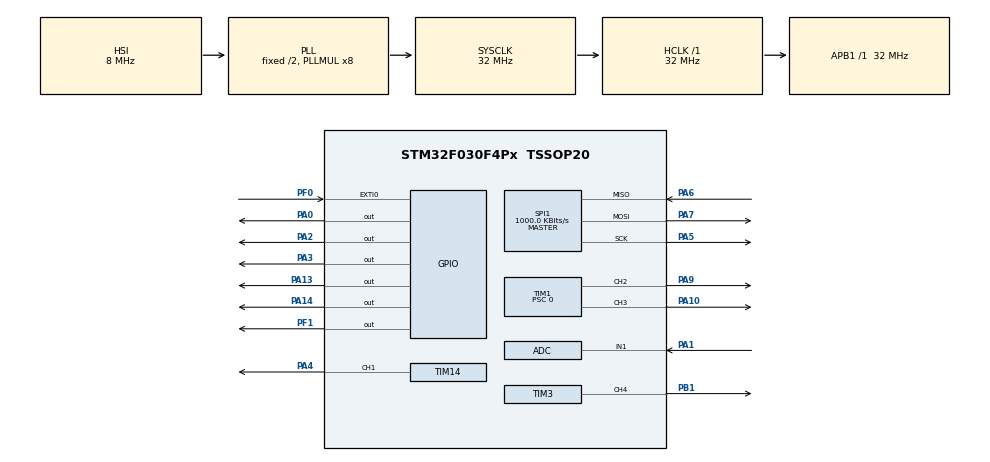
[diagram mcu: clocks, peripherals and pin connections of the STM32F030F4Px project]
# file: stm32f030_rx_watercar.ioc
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ADC.SamplingTime=ADC_SAMPLETIME_55CYCLES_5
Dma.ADC.0.Direction=DMA_PERIPH_TO_MEMORY
Dma.ADC.0.Instance=DMA1_Channel1
Dma.ADC.0.MemDataAlignment=DMA_MDATAALIGN_HALFWORD
Dma.ADC.0.MemInc=DMA_MINC_ENABLE
Dma.ADC.0.Mode=DMA_NORMAL
Dma.ADC.0.PeriphDataAlignment=DMA_PDATAALIGN_HALFWORD
Dma.ADC.0.PeriphInc=DMA_PINC_DISABLE
Dma.ADC.0.Priority=DMA_PRIORITY_MEDIUM
Dma.Request0=ADC
Mcu.Family=STM32F0
Mcu.Name=STM32F030F4Px
Mcu.Package=TSSOP20
NVIC.DMA1_Channel1_IRQn=true\:0\:0\:false\:false\:true\:false
NVIC.EXTI0_1_IRQn=true\:0\:0\:false\:false\:true\:true
NVIC.TIM16_IRQn=true\:0\:0\:false\:false\:true\:true
PA0.Signal=GPIO_Output
PA1.Mode=IN1
PA1.Signal=ADC_IN1
PA10.Signal=S_TIM1_CH3
PA13.Signal=GPIO_Output
PA14.Signal=GPIO_Output
PA2.Signal=GPIO_Output
PA3.Signal=GPIO_Output
PA4.Signal=S_TIM14_CH1
PA5.Mode=Full_Duplex_Master
PA5.Signal=SPI1_SCK
PA6.Mode=Full_Duplex_Master
PA6.Signal=SPI1_MISO
PA7.Mode=Full_Duplex_Master
PA7.Signal=SPI1_MOSI
PA9.Signal=S_TIM1_CH2
PB1.Signal=S_TIM3_CH4
PF0-OSC_IN.GPIO_ModeDefaultEXTI=GPIO_MODE_IT_FALLING
PF0-OSC_IN.Signal=GPXTI0
PF1-OSC_OUT.Signal=GPIO_Output
ProjectManager.HeapSize=0x200
ProjectManager.StackSize=0x400
ProjectManager.TargetToolchain=MDK-ARM V5
RCC.AHBFreq_Value=32000000
RCC.APB1Freq_Value=32000000
RCC.APB1TimFreq_Value=32000000
RCC.HCLKFreq_Value=32000000
RCC.PLLMUL=RCC_PLL_MUL8
RCC.SYSCLKFreq_VALUE=32000000
RCC.SYSCLKSource=RCC_SYSCLKSOURCE_PLLCLK
SH.S_TIM14_CH1.0=TIM14_CH1,PWM Generation1 CH1
SH.S_TIM1_CH2.0=TIM1_CH2,PWM Generation2 CH2
SH.S_TIM1_CH3.0=TIM1_CH3,PWM Generation3 CH3
SH.S_TIM3_CH4.0=TIM3_CH4,PWM Generation4 CH4
SPI1.BaudRatePrescaler=SPI_BAUDRATEPRESCALER_32
SPI1.CLKPhase=SPI_PHASE_1EDGE
SPI1.CLKPolarity=SPI_POLARITY_LOW
SPI1.CalculateBaudRate=1000.0 KBits/s
SPI1.DataSize=SPI_DATASIZE_8BIT
SPI1.Direction=SPI_DIRECTION_2LINES
SPI1.Mode=SPI_MODE_MASTER
SPI1.NSSPMode=SPI_NSS_PULSE_DISABLE
SPI1.VirtualType=VM_MASTER
TIM1.Channel-PWM\ Generation2\ CH2=TIM_CHANNEL_2
TIM1.Channel-PWM\ Generation3\ CH3=TIM_CHANNEL_3
TIM1.Period=1599
TIM1.Prescaler=0
TIM14.Channel=TIM_CHANNEL_1
TIM14.Period=1599
TIM14.Prescaler=0
TIM16.Period=1
TIM16.Prescaler=31999
TIM3.Channel-PWM\ Generation4\ CH4=TIM_CHANNEL_4
TIM3.Period=1599
TIM3.Prescaler=0
VP_TIM14_VS_ClockSourceINT.Mode=Enable_Timer
VP_TIM16_VS_ClockSourceINT.Mode=Enable_Timer
VP_TIM1_VS_ClockSourceINT.Mode=Internal
VP_TIM3_VS_ClockSourceINT.Mode=Internal
board=custom

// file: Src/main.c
/**
  ******************************************************************************
  * @file           : main.c
  * @brief          : Main program body
  ******************************************************************************
  ** This notice applies to any and all portions of this file
  * that are not between comment pairs USER CODE BEGIN and
  * USER CODE END. Other portions of this file, whether
  * inserted by the user or by software development tools
  * are owned by their respective copyright owners.
  *
  * COPYRIGHT(c) 2018 STMicroelectronics
  *
  * Redistribution and use in source and binary forms, with or without modification,
  * are permitted provided that the following conditions are met:
  *   1. Redistributions of source code must retain the above copyright notice,
  *      this list of conditions and the following disclaimer.
  *   2. Redistributions in binary form must reproduce the above copyright notice,
  *      this list of conditions and the following disclaimer in the documentation
  *      and/or other materials provided with the distribution.
  *   3. Neither the name of STMicroelectronics nor the names of its contributors
  *      may be used to endorse or promote products derived from this software
  *      without specific prior written permission.
  *
  * THIS SOFTWARE IS PROVIDED BY THE COPYRIGHT HOLDERS AND CONTRIBUTORS "AS IS"
  * AND ANY EXPRESS OR IMPLIED WARRANTIES, INCLUDING, BUT NOT LIMITED TO, THE
  * IMPLIED WARRANTIES OF MERCHANTABILITY AND FITNESS FOR A PARTICULAR PURPOSE ARE
  * DISCLAIMED. IN NO EVENT SHALL THE COPYRIGHT HOLDER OR CONTRIBUTORS BE LIABLE
  * FOR ANY DIRECT, INDIRECT, INCIDENTAL, SPECIAL, EXEMPLARY, OR CONSEQUENTIAL
  * DAMAGES (INCLUDING, BUT NOT LIMITED TO, PROCUREMENT OF SUBSTITUTE GOODS OR
  * SERVICES; LOSS OF USE, DATA, OR PROFITS; OR BUSINESS INTERRUPTION) HOWEVER
  * CAUSED AND ON ANY THEORY OF LIABILITY, WHETHER IN CONTRACT, STRICT LIABILITY,
  * OR TORT (INCLUDING NEGLIGENCE OR OTHERWISE) ARISING IN ANY WAY OUT OF THE USE
  * OF THIS SOFTWARE, EVEN IF ADVISED OF THE POSSIBILITY OF SUCH DAMAGE.
  *
  ******************************************************************************
  */
#include "main.h"
#include "stm32f0xx_hal.h"

/* USER CODE BEGIN Includes */
#include "nrf24.h"
#include <string.h>

#define LED_T //HAL_GPIO_TogglePin(GPIOA, GPIO_PIN_4)
#define ENG1_D TIM1->CCR3
#define ENG1_R TIM1->CCR2
#define ENG2_D TIM3->CCR4
#define ENG2_R TIM14->CCR1

#define LED1_ON HAL_GPIO_WritePin(GPIOA, GPIO_PIN_2, GPIO_PIN_RESET);
#define LED1_OFF HAL_GPIO_WritePin(GPIOA, GPIO_PIN_2, GPIO_PIN_SET);
#define LED2_ON HAL_GPIO_WritePin(GPIOA, GPIO_PIN_3, GPIO_PIN_RESET);
#define LED2_OFF HAL_GPIO_WritePin(GPIOA, GPIO_PIN_3, GPIO_PIN_SET);
/* USER CODE END Includes */

ADC_HandleTypeDef hadc;
DMA_HandleTypeDef hdma_adc;

SPI_HandleTypeDef hspi1;

TIM_HandleTypeDef htim1;
TIM_HandleTypeDef htim3;
TIM_HandleTypeDef htim14;
TIM_HandleTypeDef htim16;

/* USER CODE BEGIN PV */
/* Private variables ---------------------------------------------------------*/
char str1[150]={0};
uint8_t buf1[20]={0};

uint8_t ReciveFlag=0;
extern uint8_t RX_BUF[5];

volatile uint16_t ADC_Data[2];
uint16_t TimeLastRx = 0;

volatile uint8_t  SRV_1_Left=68, SRV_1_C=82, SRV_1_Right=104;
volatile uint8_t  SRV_2_Left=60, SRV_2_C=82, SRV_2_Right=145;
volatile uint8_t  SRV_3_Left=60, SRV_3_C=82, SRV_3_Right=145;
volatile uint8_t  SRV_4_Left=60, SRV_4_C=82, SRV_4_Right=145;

uint8_t OptionFlag=0;
float Volt = 0.0;
uint8_t MaxPwr = 2;
/* USER CODE END PV */

void SystemClock_Config(void);
static void MX_GPIO_Init(void);
static void MX_DMA_Init(void);
static void MX_SPI1_Init(void);
static void MX_TIM16_Init(void);
static void MX_TIM1_Init(void);
static void MX_TIM3_Init(void);
static void MX_TIM14_Init(void);
static void MX_ADC_Init(void);

void HAL_TIM_MspPostInit(TIM_HandleTypeDef *htim);

/* USER CODE BEGIN PFP */
/* Private function prototypes -----------------------------------------------*/
void MotorDrive(uint8_t left, uint8_t right, uint8_t drive, uint8_t revers);
uint8_t CheckBits (uint8_t value, uint8_t pos);
/* USER CODE END PFP */

int main(void)
{
  /* USER CODE BEGIN 1 */
	uint8_t dt_reg=0;
	uint8_t msg1;

	uint8_t chanels[4] = {0};
  /* USER CODE END 1 */

  /* MCU Configuration----------------------------------------------------------*/

  /* Reset of all peripherals, Initializes the Flash interface and the Systick. */
  HAL_Init();

  /* Configure the system clock */
  SystemClock_Config();

  /* Initialize all configured peripherals */
  MX_GPIO_Init();
  MX_DMA_Init();
  MX_SPI1_Init();
  MX_TIM16_Init();
  MX_TIM1_Init();
  MX_TIM3_Init();
  MX_TIM14_Init();
  MX_ADC_Init();
  /* USER CODE BEGIN 2 */

	HAL_TIM_PWM_Start(&htim1, TIM_CHANNEL_2);
	HAL_TIM_PWM_Start(&htim1, TIM_CHANNEL_3);
	HAL_TIM_PWM_Start(&htim3, TIM_CHANNEL_4);
	HAL_TIM_PWM_Start(&htim14, TIM_CHANNEL_1);

	ENG1_D = 0;
	ENG1_R = 0;
	ENG2_D = 0;
	ENG2_R = 0;

	RX_BUF[0] = 100;
	RX_BUF[1] = 100;
	RX_BUF[2] = 0;
	RX_BUF[3] = 0;
	RX_BUF[4] = 0;

	LED1_OFF;
	LED2_OFF;

	HAL_Delay(500);

	NRF24_ini();
	HAL_Delay(100);
	HAL_TIM_Base_Start_IT(&htim16);

	msg1 = 0xdb;
  /* USER CODE END 2 */

  /* Infinite loop */
  while (1)
  {

  /* USER CODE BEGIN 3 */

		NRF24L01_Receive();
		//HAL_Delay(1);

		if (TimeLastRx > 500) {
			RX_BUF[0] = 100;
			RX_BUF[1] = 100;
			RX_BUF[2] = 0;
			RX_BUF[3] = 0;
			RX_BUF[4] = 0;
			TimeLastRx = 501;
		}

		if (OptionFlag == 0){ // check options menu flag

			if (RX_BUF[0] > 95 && RX_BUF[0] < 105 && RX_BUF[1] > 95 && RX_BUF[1] < 105) {
				MotorDrive(0, 0, 0, 0);
			} else {

				if (RX_BUF[1] < 95)
						chanels[2] = 100 - RX_BUF[1];
					else
						chanels[2] = 0;

				if (RX_BUF[1] >105)
						chanels[3] = RX_BUF[1] - 100;
					else
						chanels[3] = 0;

				if (RX_BUF[0] < 95)
						chanels[1] = 100 - RX_BUF[0];
					else
						chanels[1] = 0;

				if (RX_BUF[0] >105)
						chanels[0] = RX_BUF[0] - 100;
					else
						chanels[0] = 0;

				MotorDrive(chanels[1], chanels[0], chanels[3], chanels[2]);
			}

		}

  }
  /* USER CODE END 3 */

}

void SystemClock_Config(void)
{

  RCC_OscInitTypeDef RCC_OscInitStruct;
  RCC_ClkInitTypeDef RCC_ClkInitStruct;

    /**Initializes the CPU, AHB and APB busses clocks
    */
  RCC_OscInitStruct.OscillatorType = RCC_OSCILLATORTYPE_HSI|RCC_OSCILLATORTYPE_HSI14;
  RCC_OscInitStruct.HSIState = RCC_HSI_ON;
  RCC_OscInitStruct.HSI14State = RCC_HSI14_ON;
  RCC_OscInitStruct.HSICalibrationValue = 16;
  RCC_OscInitStruct.HSI14CalibrationValue = 16;
  RCC_OscInitStruct.PLL.PLLState = RCC_PLL_ON;
  RCC_OscInitStruct.PLL.PLLSource = RCC_PLLSOURCE_HSI;
  RCC_OscInitStruct.PLL.PLLMUL = RCC_PLL_MUL8;
  RCC_OscInitStruct.PLL.PREDIV = RCC_PREDIV_DIV1;
  if (HAL_RCC_OscConfig(&RCC_OscInitStruct) != HAL_OK)
  {
    _Error_Handler(__FILE__, __LINE__);
  }

    /**Initializes the CPU, AHB and APB busses clocks
    */
  RCC_ClkInitStruct.ClockType = RCC_CLOCKTYPE_HCLK|RCC_CLOCKTYPE_SYSCLK
                              |RCC_CLOCKTYPE_PCLK1;
  RCC_ClkInitStruct.SYSCLKSource = RCC_SYSCLKSOURCE_PLLCLK;
  RCC_ClkInitStruct.AHBCLKDivider = RCC_SYSCLK_DIV1;
  RCC_ClkInitStruct.APB1CLKDivider = RCC_HCLK_DIV1;

  if (HAL_RCC_ClockConfig(&RCC_ClkInitStruct, FLASH_LATENCY_1) != HAL_OK)
  {
    _Error_Handler(__FILE__, __LINE__);
  }

    /**Configure the Systick interrupt time
    */
  HAL_SYSTICK_Config(HAL_RCC_GetHCLKFreq()/1000);

    /**Configure the Systick
    */
  HAL_SYSTICK_CLKSourceConfig(SYSTICK_CLKSOURCE_HCLK);

  /* SysTick_IRQn interrupt configuration */
  HAL_NVIC_SetPriority(SysTick_IRQn, 0, 0);
}

/* ADC init function */
static void MX_ADC_Init(void)
{

  ADC_ChannelConfTypeDef sConfig;

    /**Configure the global features of the ADC (Clock, Resolution, Data Alignment and number of conversion)
    */
  hadc.Instance = ADC1;
  hadc.Init.ClockPrescaler = ADC_CLOCK_ASYNC_DIV1;
  hadc.Init.Resolution = ADC_RESOLUTION_12B;
  hadc.Init.DataAlign = ADC_DATAALIGN_RIGHT;
  hadc.Init.ScanConvMode = ADC_SCAN_DIRECTION_FORWARD;
  hadc.Init.EOCSelection = ADC_EOC_SINGLE_CONV;
  hadc.Init.LowPowerAutoWait = DISABLE;
  hadc.Init.LowPowerAutoPowerOff = DISABLE;
  hadc.Init.ContinuousConvMode = DISABLE;
  hadc.Init.DiscontinuousConvMode = DISABLE;
  hadc.Init.ExternalTrigConv = ADC_SOFTWARE_START;
  hadc.Init.ExternalTrigConvEdge = ADC_EXTERNALTRIGCONVEDGE_NONE;
  hadc.Init.DMAContinuousRequests = DISABLE;
  hadc.Init.Overrun = ADC_OVR_DATA_PRESERVED;
  if (HAL_ADC_Init(&hadc) != HAL_OK)
  {
    _Error_Handler(__FILE__, __LINE__);
  }

    /**Configure for the selected ADC regular channel to be converted.
    */
  sConfig.Channel = ADC_CHANNEL_1;
  sConfig.Rank = ADC_RANK_CHANNEL_NUMBER;
  sConfig.SamplingTime = ADC_SAMPLETIME_55CYCLES_5;
  if (HAL_ADC_ConfigChannel(&hadc, &sConfig) != HAL_OK)
  {
    _Error_Handler(__FILE__, __LINE__);
  }

}

/* SPI1 init function */
static void MX_SPI1_Init(void)
{

  /* SPI1 parameter configuration*/
  hspi1.Instance = SPI1;
  hspi1.Init.Mode = SPI_MODE_MASTER;
  hspi1.Init.Direction = SPI_DIRECTION_2LINES;
  hspi1.Init.DataSize = SPI_DATASIZE_8BIT;
  hspi1.Init.CLKPolarity = SPI_POLARITY_LOW;
  hspi1.Init.CLKPhase = SPI_PHASE_1EDGE;
  hspi1.Init.NSS = SPI_NSS_SOFT;
  hspi1.Init.BaudRatePrescaler = SPI_BAUDRATEPRESCALER_32;
  hspi1.Init.FirstBit = SPI_FIRSTBIT_MSB;
  hspi1.Init.TIMode = SPI_TIMODE_DISABLE;
  hspi1.Init.CRCCalculation = SPI_CRCCALCULATION_DISABLE;
  hspi1.Init.CRCPolynomial = 7;
  hspi1.Init.CRCLength = SPI_CRC_LENGTH_DATASIZE;
  hspi1.Init.NSSPMode = SPI_NSS_PULSE_DISABLE;
  if (HAL_SPI_Init(&hspi1) != HAL_OK)
  {
    _Error_Handler(__FILE__, __LINE__);
  }

}

/* TIM1 init function */
static void MX_TIM1_Init(void)
{

  TIM_ClockConfigTypeDef sClockSourceConfig;
  TIM_MasterConfigTypeDef sMasterConfig;
  TIM_OC_InitTypeDef sConfigOC;
  TIM_BreakDeadTimeConfigTypeDef sBreakDeadTimeConfig;

  htim1.Instance = TIM1;
  htim1.Init.Prescaler = 0;
  htim1.Init.CounterMode = TIM_COUNTERMODE_UP;
  htim1.Init.Period = 1599;
  htim1.Init.ClockDivision = TIM_CLOCKDIVISION_DIV1;
  htim1.Init.RepetitionCounter = 0;
  htim1.Init.AutoReloadPreload = TIM_AUTORELOAD_PRELOAD_DISABLE;
  if (HAL_TIM_Base_Init(&htim1) != HAL_OK)
  {
    _Error_Handler(__FILE__, __LINE__);
  }

  sClockSourceConfig.ClockSource = TIM_CLOCKSOURCE_INTERNAL;
  if (HAL_TIM_ConfigClockSource(&htim1, &sClockSourceConfig) != HAL_OK)
  {
    _Error_Handler(__FILE__, __LINE__);
  }

  if (HAL_TIM_PWM_Init(&htim1) != HAL_OK)
  {
    _Error_Handler(__FILE__, __LINE__);
  }

  sMasterConfig.MasterOutputTrigger = TIM_TRGO_RESET;
  sMasterConfig.MasterSlaveMode = TIM_MASTERSLAVEMODE_DISABLE;
  if (HAL_TIMEx_MasterConfigSynchronization(&htim1, &sMasterConfig) != HAL_OK)
  {
    _Error_Handler(__FILE__, __LINE__);
  }

  sConfigOC.OCMode = TIM_OCMODE_PWM1;
  sConfigOC.Pulse = 0;
  sConfigOC.OCPolarity = TIM_OCPOLARITY_HIGH;
  sConfigOC.OCNPolarity = TIM_OCNPOLARITY_HIGH;
  sConfigOC.OCFastMode = TIM_OCFAST_DISABLE;
  sConfigOC.OCIdleState = TIM_OCIDLESTATE_RESET;
  sConfigOC.OCNIdleState = TIM_OCNIDLESTATE_RESET;
  if (HAL_TIM_PWM_ConfigChannel(&htim1, &sConfigOC, TIM_CHANNEL_2) != HAL_OK)
  {
    _Error_Handler(__FILE__, __LINE__);
  }

  if (HAL_TIM_PWM_ConfigChannel(&htim1, &sConfigOC, TIM_CHANNEL_3) != HAL_OK)
  {
    _Error_Handler(__FILE__, __LINE__);
  }

  sBreakDeadTimeConfig.OffStateRunMode = TIM_OSSR_DISABLE;
  sBreakDeadTimeConfig.OffStateIDLEMode = TIM_OSSI_DISABLE;
  sBreakDeadTimeConfig.LockLevel = TIM_LOCKLEVEL_OFF;
  sBreakDeadTimeConfig.DeadTime = 0;
  sBreakDeadTimeConfig.BreakState = TIM_BREAK_DISABLE;
  sBreakDeadTimeConfig.BreakPolarity = TIM_BREAKPOLARITY_HIGH;
  sBreakDeadTimeConfig.AutomaticOutput = TIM_AUTOMATICOUTPUT_DISABLE;
  if (HAL_TIMEx_ConfigBreakDeadTime(&htim1, &sBreakDeadTimeConfig) != HAL_OK)
  {
    _Error_Handler(__FILE__, __LINE__);
  }

  HAL_TIM_MspPostInit(&htim1);

}

/* TIM3 init function */
static void MX_TIM3_Init(void)
{

  TIM_ClockConfigTypeDef sClockSourceConfig;
  TIM_MasterConfigTypeDef sMasterConfig;
  TIM_OC_InitTypeDef sConfigOC;

  htim3.Instance = TIM3;
  htim3.Init.Prescaler = 0;
  htim3.Init.CounterMode = TIM_COUNTERMODE_UP;
  htim3.Init.Period = 1599;
  htim3.Init.ClockDivision = TIM_CLOCKDIVISION_DIV1;
  htim3.Init.AutoReloadPreload = TIM_AUTORELOAD_PRELOAD_DISABLE;
  if (HAL_TIM_Base_Init(&htim3) != HAL_OK)
  {
    _Error_Handler(__FILE__, __LINE__);
  }

  sClockSourceConfig.ClockSource = TIM_CLOCKSOURCE_INTERNAL;
  if (HAL_TIM_ConfigClockSource(&htim3, &sClockSourceConfig) != HAL_OK)
  {
    _Error_Handler(__FILE__, __LINE__);
  }

  if (HAL_TIM_PWM_Init(&htim3) != HAL_OK)
  {
    _Error_Handler(__FILE__, __LINE__);
  }

  sMasterConfig.MasterOutputTrigger = TIM_TRGO_RESET;
  sMasterConfig.MasterSlaveMode = TIM_MASTERSLAVEMODE_DISABLE;
  if (HAL_TIMEx_MasterConfigSynchronization(&htim3, &sMasterConfig) != HAL_OK)
  {
    _Error_Handler(__FILE__, __LINE__);
  }

  sConfigOC.OCMode = TIM_OCMODE_PWM1;
  sConfigOC.Pulse = 0;
  sConfigOC.OCPolarity = TIM_OCPOLARITY_HIGH;
  sConfigOC.OCFastMode = TIM_OCFAST_DISABLE;
  if (HAL_TIM_PWM_ConfigChannel(&htim3, &sConfigOC, TIM_CHANNEL_4) != HAL_OK)
  {
    _Error_Handler(__FILE__, __LINE__);
  }

  HAL_TIM_MspPostInit(&htim3);

}

/* TIM14 init function */
static void MX_TIM14_Init(void)
{

  TIM_OC_InitTypeDef sConfigOC;

  htim14.Instance = TIM14;
  htim14.Init.Prescaler = 0;
  htim14.Init.CounterMode = TIM_COUNTERMODE_UP;
  htim14.Init.Period = 1599;
  htim14.Init.ClockDivision = TIM_CLOCKDIVISION_DIV1;
  htim14.Init.AutoReloadPreload = TIM_AUTORELOAD_PRELOAD_DISABLE;
  if (HAL_TIM_Base_Init(&htim14) != HAL_OK)
  {
    _Error_Handler(__FILE__, __LINE__);
  }

  if (HAL_TIM_PWM_Init(&htim14) != HAL_OK)
  {
    _Error_Handler(__FILE__, __LINE__);
  }

  sConfigOC.OCMode = TIM_OCMODE_PWM1;
  sConfigOC.Pulse = 0;
  sConfigOC.OCPolarity = TIM_OCPOLARITY_HIGH;
  sConfigOC.OCFastMode = TIM_OCFAST_DISABLE;
  if (HAL_TIM_PWM_ConfigChannel(&htim14, &sConfigOC, TIM_CHANNEL_1) != HAL_OK)
  {
    _Error_Handler(__FILE__, __LINE__);
  }

  HAL_TIM_MspPostInit(&htim14);

}

/* TIM16 init function */
static void MX_TIM16_Init(void)
{

  htim16.Instance = TIM16;
  htim16.Init.Prescaler = 31999;
  htim16.Init.CounterMode = TIM_COUNTERMODE_UP;
  htim16.Init.Period = 1;
  htim16.Init.ClockDivision = TIM_CLOCKDIVISION_DIV1;
  htim16.Init.RepetitionCounter = 0;
  htim16.Init.AutoReloadPreload = TIM_AUTORELOAD_PRELOAD_DISABLE;
  if (HAL_TIM_Base_Init(&htim16) != HAL_OK)
  {
    _Error_Handler(__FILE__, __LINE__);
  }

}

static void MX_DMA_Init(void)
{
  /* DMA controller clock enable */
  __HAL_RCC_DMA1_CLK_ENABLE();

  /* DMA interrupt init */
  /* DMA1_Channel1_IRQn interrupt configuration */
  HAL_NVIC_SetPriority(DMA1_Channel1_IRQn, 0, 0);
  HAL_NVIC_EnableIRQ(DMA1_Channel1_IRQn);

}

/** Configure pins as
        * Analog
        * Input
        * Output
        * EVENT_OUT
        * EXTI
*/
static void MX_GPIO_Init(void)
{

  GPIO_InitTypeDef GPIO_InitStruct;

  /* GPIO Ports Clock Enable */
  __HAL_RCC_GPIOF_CLK_ENABLE();
  __HAL_RCC_GPIOA_CLK_ENABLE();
  __HAL_RCC_GPIOB_CLK_ENABLE();

  /*Configure GPIO pin Output Level */
  HAL_GPIO_WritePin(GPIOF, GPIO_PIN_1, GPIO_PIN_RESET);

  /*Configure GPIO pin Output Level */
  HAL_GPIO_WritePin(GPIOA, GPIO_PIN_0|GPIO_PIN_2|GPIO_PIN_3|GPIO_PIN_13
                          |GPIO_PIN_14, GPIO_PIN_RESET);

  /*Configure GPIO pin : PF0 */
  GPIO_InitStruct.Pin = GPIO_PIN_0;
  GPIO_InitStruct.Mode = GPIO_MODE_IT_FALLING;
  GPIO_InitStruct.Pull = GPIO_NOPULL;
  HAL_GPIO_Init(GPIOF, &GPIO_InitStruct);

  /*Configure GPIO pin : PF1 */
  GPIO_InitStruct.Pin = GPIO_PIN_1;
  GPIO_InitStruct.Mode = GPIO_MODE_OUTPUT_PP;
  GPIO_InitStruct.Pull = GPIO_NOPULL;
  GPIO_InitStruct.Speed = GPIO_SPEED_FREQ_LOW;
  HAL_GPIO_Init(GPIOF, &GPIO_InitStruct);

  /*Configure GPIO pins : PA0 PA2 PA3 PA13
                           PA14 */
  GPIO_InitStruct.Pin = GPIO_PIN_0|GPIO_PIN_2|GPIO_PIN_3|GPIO_PIN_13
                          |GPIO_PIN_14;
  GPIO_InitStruct.Mode = GPIO_MODE_OUTPUT_PP;
  GPIO_InitStruct.Pull = GPIO_NOPULL;
  GPIO_InitStruct.Speed = GPIO_SPEED_FREQ_LOW;
  HAL_GPIO_Init(GPIOA, &GPIO_InitStruct);

  /* EXTI interrupt init*/
  HAL_NVIC_SetPriority(EXTI0_1_IRQn, 0, 0);
  HAL_NVIC_EnableIRQ(EXTI0_1_IRQn);

}

/* USER CODE BEGIN 4 */
void HAL_GPIO_EXTI_Callback(uint16_t GPIO_Pin)
{
  if(GPIO_Pin== GPIO_PIN_0)
  {
    IRQ_Callback();
  }
  else
  {
    __NOP();
  }
}

void HAL_TIM_PeriodElapsedCallback(TIM_HandleTypeDef *htim)
{
  if(htim==&htim16)
  {
//    TIM1_Callback();
		TimeLastRx ++;
  }
}

void MotorDrive(uint8_t left, uint8_t right, uint8_t drive, uint8_t revers) {

	int16_t left_eng = 0, right_eng = 0;

	if (drive >= 0) {
		if (left > 0) {
			left_eng  = (drive - revers) - (left / 3);

			right_eng = (drive - revers) + (left / 3);
		}
		if (right > 0) {
			left_eng  = (drive - revers) + (right / 3);

			right_eng = (drive - revers) - (right / 3);
		}
		if (right == 0 && left == 0) {
			left_eng = (drive - revers);
			right_eng = (drive - revers);
		}
	} else {
		if (left > 0) {
			right_eng = (drive - revers) + (left / 3);

			left_eng  = (drive - revers) - (left / 3);
		}
		if (right > 0) {
			right_eng = (drive - revers) - (right / 3);

			left_eng  = (drive - revers) + (right / 3);
		}
		if (right == 0 && left == 0) {
			left_eng = (drive - revers);
			right_eng = (drive - revers);
		}
	}

	if (left_eng < -100) left_eng = -100;

	if (right_eng < -100) right_eng = -100;

	if (left_eng < 0) {
		ENG1_R = ( 870 + (( 0-left_eng )*6));
		ENG1_D = 0;
	} else if ( left_eng > 0) {
		ENG1_D = ( 870 + ((left_eng)*6));
		ENG1_R = 0;
	} else {
		ENG1_D = 0;
		ENG1_R = 0;
	}

	if (right_eng < 0) {
		ENG2_R = ( 900 + (( 0-right_eng )*6));
		ENG2_D = 0;
	} else if ( right_eng > 0) {
		ENG2_D = ( 900 + ((right_eng)*6));
		ENG2_R = 0;
	} else {
		ENG2_D = 0;
		ENG2_R = 0;
	}

	if (left == 0 && right == 0 && drive == 0 && revers == 0) {
		ENG1_D = 0;
		ENG1_R = 0;
		ENG2_D = 0;
		ENG2_R = 0;
	}

}

uint8_t CheckBits (uint8_t value, uint8_t pos){
	if (value & (1<<pos))
		return 1;
	else
		return 0;
}

/* USER CODE END 4 */

void _Error_Handler(char *file, int line)
{
  while(1)
  {
  }
}

/************************ (C) COPYRIGHT STMicroelectronics *****END OF FILE****/
